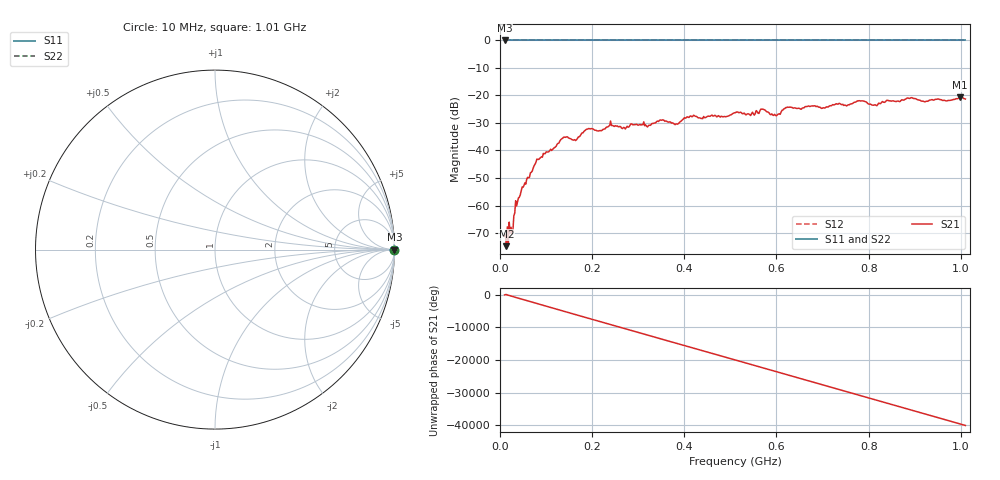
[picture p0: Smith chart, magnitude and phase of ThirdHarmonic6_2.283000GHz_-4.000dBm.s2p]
! 8/17/2025 2:58:22 AM
! C:\ANRITSUVNA\TEMP\TEMP.S2P
! CHANNEL.1
! TR.MEASUREMENT
! RAW.DATA
! RF.CORRECTION.OFF
! AVERAGING.OFF
! IF.BANDWIDTH: 5KHZ
! SWEEPTYPE:  FREQ.SWEEP(Linear)
! Reference Plane Port Info
! PORT:  PORT1  PORT2
! DISTANCE:  0  m  0  m
! TIME:  0  s  0  s
! PHASE.OFFSET:  0  deg.  0  deg.
! LOSS:  0  dB  0  dB
! REF.LOSS:  0  dB  0  dB
! REF.FREQ:  0  Hz  0  Hz
! Power Info
! POWER:  -20  dBm  -20  dBm
! EFF.POWER:  -20  dBm  -20  dBm
! SOURCE.ATTEN:  0  dB  0  dB
! TEST.ATTEN:  0  dB  0  dB
# GHZ S RI R 50.0
! FREQ.GHZ  S11RE  S11IM  S21RE  S21IM  S12RE  S12IM  S22RE  S22IM
!; PortSelection: Port_12
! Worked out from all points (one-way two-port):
!   501 points, 10 MHz to 1.01 GHz, reference 50 ohm
!   highest |S21| = -20.63 dB at 998 MHz (marker M1); lowest = -74.8 dB at 14 MHz (marker M2)
!   lowest |S11| = 0.0 dB at 10 MHz (marker M3)
!   |S11| at or under -10 dB: nowhere
!   |S22| runs from 0.0 to 0.0 dB; largest |S21 - S12| = 1.1
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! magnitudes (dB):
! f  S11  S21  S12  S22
! 10 MHz  0.0  -71.2  0.0  0.0
! 14 MHz  0.0  -74.8  0.0  0.0
! 26 MHz  0.0  -70.2  0.0  0.0
! 34 MHz  0.0  -58.3  0.0  0.0
! 44 MHz  0.0  -56.1  0.0  0.0
! 78 MHz  0.0  -44.3  0.0  0.0
! 136 MHz  0.0  -35.5  0.0  0.0
! 162 MHz  0.0  -36.1  0.0  0.0
! 178 MHz  0.0  -33.6  0.0  0.0
! 240 MHz  0.0  -29.3  0.0  0.0
! 268 MHz  0.0  -31.6  0.0  0.0
! 344 MHz  0.0  -29.4  0.0  0.0
! 382 MHz  0.0  -30.3  0.0  0.0
! 416 MHz  0.0  -27.7  0.0  0.0
! 510 MHz  0.0  -26.3  0.0  0.0
! 570 MHz  0.0  -25.0  0.0  0.0
! 598 MHz  0.0  -27.3  0.0  0.0
! 624 MHz  0.0  -24.2  0.0  0.0
! 678 MHz  0.0  -23.8  0.0  0.0
! 844 MHz  0.0  -21.9  0.0  0.0
! 998 MHz  0.0  -20.6  0.0  0.0
! 1.01 GHz  0.0  -21.3  0.0  0.0
